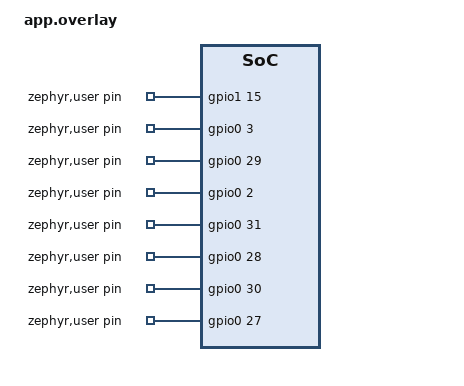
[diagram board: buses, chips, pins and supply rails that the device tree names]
/ {

    chosen {
        zephyr,console = &uart0;
        zephyr,shell-uart = &uart0;
    };

    zephyr,user {
        pin_gpios = <&gpio1 15 (GPIO_ACTIVE_HIGH | GPIO_PULL_DOWN)>, /* pin 8  - P1.15 */
                    <&gpio0 3  (GPIO_ACTIVE_HIGH | GPIO_PULL_DOWN)>, /* pin 9  - P0.03 */
                    <&gpio0 29 (GPIO_ACTIVE_HIGH | GPIO_PULL_DOWN)>, /* pin 10 - P0.29 */
                    <&gpio0 2  (GPIO_ACTIVE_HIGH | GPIO_PULL_DOWN)>, /* pin 11 - P0.02 */
                    <&gpio0 31 (GPIO_ACTIVE_HIGH | GPIO_PULL_DOWN)>, /* pin 12 - P0.31 */
                    <&gpio0 28 (GPIO_ACTIVE_HIGH | GPIO_PULL_DOWN)>, /* pin 13 - P0.28 */
                    <&gpio0 30 (GPIO_ACTIVE_HIGH | GPIO_PULL_DOWN)>, /* pin 14 - P0.30 */
                    <&gpio0 27 (GPIO_ACTIVE_HIGH | GPIO_PULL_DOWN)>, /* pin 16 - P0.27 */
                    <&gpio0 26 (GPIO_ACTIVE_HIGH | GPIO_PULL_DOWN)>, /* pin 19 - P0.26 */
                    <&gpio0 4  (GPIO_ACTIVE_HIGH | GPIO_PULL_DOWN)>, /* pin 20 - P0.04 */
                    <&gpio0 5  (GPIO_ACTIVE_HIGH | GPIO_PULL_DOWN)>, /* pin 21 - P0.05 */
                    <&gpio0 6  (GPIO_ACTIVE_HIGH | GPIO_PULL_DOWN)>, /* pin 22 - P0.06 */
                    <&gpio0 7  (GPIO_ACTIVE_HIGH | GPIO_PULL_DOWN)>, /* pin 23 - P0.07 */
                    <&gpio0 8  (GPIO_ACTIVE_HIGH | GPIO_PULL_DOWN)>, /* pin 24 - P0.08 */
                    <&gpio1 8  (GPIO_ACTIVE_HIGH | GPIO_PULL_DOWN)>, /* pin 25 - P1.08 */
                    <&gpio1 9  (GPIO_ACTIVE_HIGH | GPIO_PULL_DOWN)>, /* pin 26 - P1.09 */
                    <&gpio0 11 (GPIO_ACTIVE_HIGH | GPIO_PULL_DOWN)>, /* pin 27 - P0.11 */
                    <&gpio0 12 (GPIO_ACTIVE_HIGH | GPIO_PULL_DOWN)>, /* pin 29 - P0.12 */
                    <&gpio0 14 (GPIO_ACTIVE_HIGH | GPIO_PULL_DOWN)>, /* pin 36 - P0.14 */
                    <&gpio0 13 (GPIO_ACTIVE_HIGH | GPIO_PULL_DOWN)>, /* pin 37 - P0.13 */
                    <&gpio0 16 (GPIO_ACTIVE_HIGH | GPIO_PULL_DOWN)>, /* pin 38 - P0.16 */
                    <&gpio0 15 (GPIO_ACTIVE_HIGH | GPIO_PULL_DOWN)>, /* pin 39 - P0.15 */
                    <&gpio0 17 (GPIO_ACTIVE_HIGH | GPIO_PULL_DOWN)>, /* pin 41 - P0.17 */
                    <&gpio0 19 (GPIO_ACTIVE_HIGH | GPIO_PULL_DOWN)>, /* pin 42 - P0.19 */
                    <&gpio0 21 (GPIO_ACTIVE_HIGH | GPIO_PULL_DOWN)>, /* pin 43 - P0.21 */
                    <&gpio0 20 (GPIO_ACTIVE_HIGH | GPIO_PULL_DOWN)>, /* pin 44 - P0.20 */
                    <&gpio1 4  (GPIO_ACTIVE_HIGH | GPIO_PULL_DOWN)>, /* pin 56 - P1.04 */
                    <&gpio1 6  (GPIO_ACTIVE_HIGH | GPIO_PULL_DOWN)>, /* pin 57 - P1.06 */
                    <&gpio1 7  (GPIO_ACTIVE_HIGH | GPIO_PULL_DOWN)>, /* pin 58 - P1.07 */
                    <&gpio1 5  (GPIO_ACTIVE_HIGH | GPIO_PULL_DOWN)>, /* pin 59 - P1.05 */
                    <&gpio1 3  (GPIO_ACTIVE_HIGH | GPIO_PULL_DOWN)>, /* pin 60 - P1.03 */
                    <&gpio1 1  (GPIO_ACTIVE_HIGH | GPIO_PULL_DOWN)>; /* pin 61 - P1.01 */
    };
};
